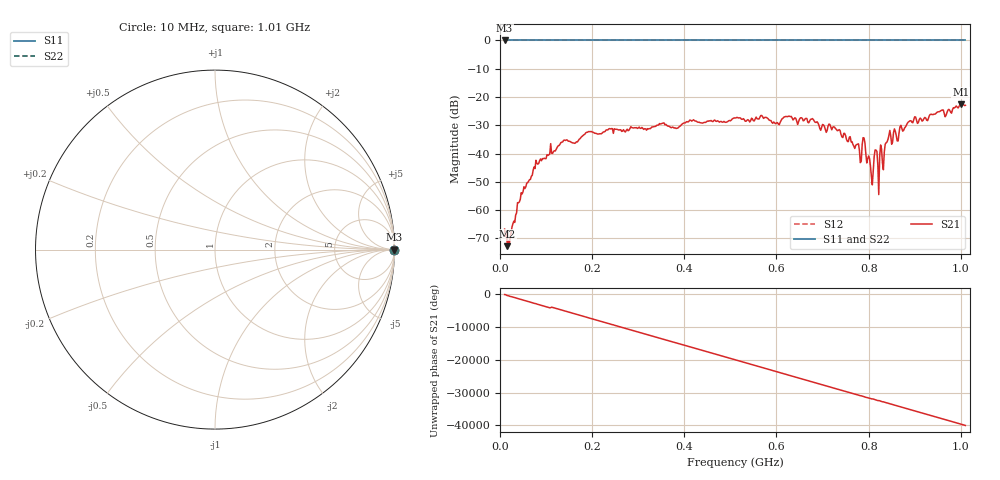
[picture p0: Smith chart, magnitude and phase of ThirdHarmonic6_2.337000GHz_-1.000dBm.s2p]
! 8/17/2025 3:25:43 AM
! C:\ANRITSUVNA\TEMP\TEMP.S2P
! CHANNEL.1
! TR.MEASUREMENT
! RAW.DATA
! RF.CORRECTION.OFF
! AVERAGING.OFF
! IF.BANDWIDTH: 5KHZ
! SWEEPTYPE:  FREQ.SWEEP(Linear)
! Reference Plane Port Info
! PORT:  PORT1  PORT2
! DISTANCE:  0  m  0  m
! TIME:  0  s  0  s
! PHASE.OFFSET:  0  deg.  0  deg.
! LOSS:  0  dB  0  dB
! REF.LOSS:  0  dB  0  dB
! REF.FREQ:  0  Hz  0  Hz
! Power Info
! POWER:  -20  dBm  -20  dBm
! EFF.POWER:  -20  dBm  -20  dBm
! SOURCE.ATTEN:  0  dB  0  dB
! TEST.ATTEN:  0  dB  0  dB
# GHZ S RI R 50.0
! FREQ.GHZ  S11RE  S11IM  S21RE  S21IM  S12RE  S12IM  S22RE  S22IM
!; PortSelection: Port_12
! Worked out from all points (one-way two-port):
!   501 points, 10 MHz to 1.01 GHz, reference 50 ohm
!   highest |S21| = -22.51 dB at 1 GHz (marker M1); lowest = -72.7 dB at 16 MHz (marker M2)
!   lowest |S11| = 0.0 dB at 10 MHz (marker M3)
!   |S11| at or under -10 dB: nowhere
!   |S22| runs from 0.0 to 0.0 dB; largest |S21 - S12| = 1.1
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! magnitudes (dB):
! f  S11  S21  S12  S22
! 10 MHz  0.0  -66.7  0.0  0.0
! 16 MHz  0.0  -72.7  0.0  0.0
! 20 MHz  0.0  -72.4  0.0  0.0
! 42 MHz  0.0  -57.1  0.0  0.0
! 76 MHz  0.0  -45.3  0.0  0.0
! 136 MHz  0.0  -35.9  0.0  0.0
! 178 MHz  0.0  -33.9  0.0  0.0
! 344 MHz  0.0  -29.9  0.0  0.0
! 510 MHz  0.0  -27.4  0.0  0.0
! 678 MHz  0.0  -27.6  0.0  0.0
! 734 MHz  0.0  -31.8  0.0  0.0
! 780 MHz  0.0  -38.8  0.0  0.0
! 790 MHz  0.0  -34.5  0.0  0.0
! 806 MHz  0.0  -48.1  0.0  0.0
! 814 MHz  0.0  -38.7  0.0  0.0
! 820 MHz  0.0  -44.1  0.0  0.0
! 834 MHz  0.0  -39.4  0.0  0.0
! 844 MHz  0.0  -33.6  0.0  0.0
! 862 MHz  0.0  -35.5  0.0  0.0
! 888 MHz  0.0  -28.6  0.0  0.0
! 1 GHz  0.0  -22.5  0.0  0.0
! 1.01 GHz  0.0  -22.9  0.0  0.0
